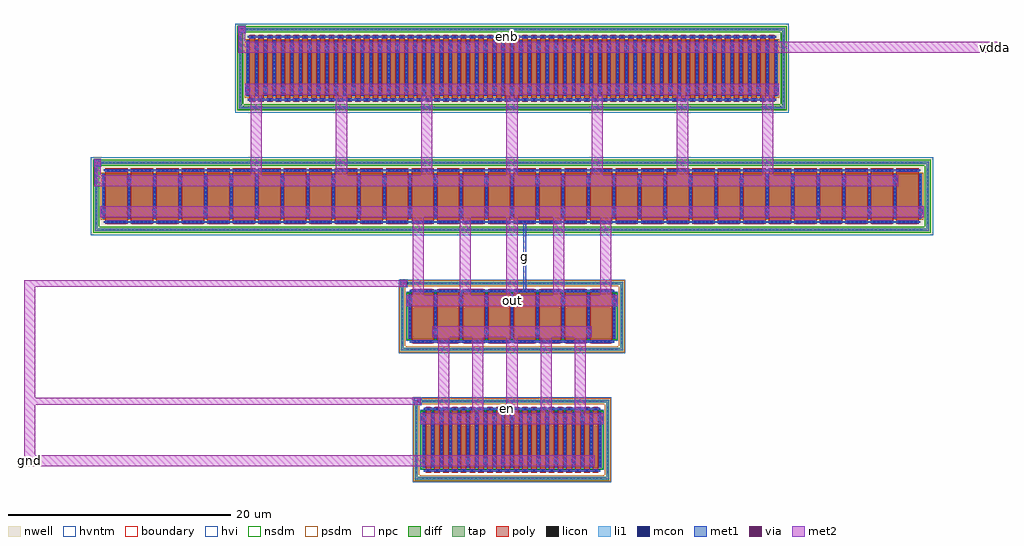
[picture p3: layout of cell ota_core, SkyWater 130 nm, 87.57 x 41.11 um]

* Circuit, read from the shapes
.subckt ota_core en enb g gnd out vdda
XM1 sky130_fd_pr__nfet_g5v0d10v5_XDK3YF_0/D0 g out gnd sky130_fd_pr__nfet_g5v0d10v5 w=4 l=2 m=8
XM2 gnd en sky130_fd_pr__nfet_g5v0d10v5_XDK3YF_0/D0 gnd sky130_fd_pr__nfet_g5v0d10v5 w=5 l=0.5 m=20
XM3 sky130_fd_pr__pfet_g5v0d10v5_8T3SAF_2/B g out sky130_fd_pr__pfet_g5v0d10v5_8T3SAF_2/B sky130_fd_pr__pfet_g5v0d10v5 w=4 l=2 m=32
XM4 vdda enb sky130_fd_pr__pfet_g5v0d10v5_8T3SAF_2/B vdda sky130_fd_pr__pfet_g5v0d10v5 w=5 l=0.5 m=60
.ends

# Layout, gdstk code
import gdstk
lib = gdstk.Library(unit=1e-6, precision=1e-09)
def R(c, l, rs):  # rectangles x0, y0, x1, y1
    for r in rs: c.add(gdstk.rectangle(r[:2], r[2:], *l))
def A(c, l, x, y, w, h, nx, ny, dx, dy):  # array of equal rectangles
    R(c, l, [(x+i*dx, y+j*dy, x+i*dx+w, y+j*dy+h) for i in range(nx) for j in range(ny)])
nwell = (64, 20)
diff = (65, 20)
tap = (65, 44)
poly = (66, 20)
licon = (66, 44)
li1 = (67, 20)
mcon = (67, 44)
met1 = (68, 20)
via = (68, 44)
met2 = (69, 20)
hvi = (75, 20)
nsdm = (93, 44)
psdm = (94, 20)
npc = (95, 20)
hvntm = (125, 20)
boundary = (235, 4)

sky130_fd_pr__nfet_g5v0d = lib.new_cell('sky130_fd_pr__nfet_g5v0d10v5_XDK3YF')
R(sky130_fd_pr__nfet_g5v0d, diff, [(-8.045,-2.5,8.045,2.5)])
R(sky130_fd_pr__nfet_g5v0d, tap, [(-8.725,-3.61,8.725,-3.32), (-8.725,-3.32,-8.435,3.32), (8.435,-3.32,8.725,3.32), (-8.725,3.32,8.725,3.61)])
A(sky130_fd_pr__nfet_g5v0d, poly, -7.755, -2.94, 0.5, 5.88, 20, 1, 0.79, 0)
A(sky130_fd_pr__nfet_g5v0d, licon, -8.075, -3.55, 0.17, 0.17, 48, 2, 0.34, 6.93)
A(sky130_fd_pr__nfet_g5v0d, licon, -8.665, -2.975, 0.17, 0.17, 1, 18, 0, 0.34)
A(sky130_fd_pr__nfet_g5v0d, licon, 8.495, -2.975, 0.17, 0.17, 1, 18, 0, 0.34)
A(sky130_fd_pr__nfet_g5v0d, licon, -7.59, -2.86, 0.17, 0.17, 20, 2, 0.79, 5.55)
A(sky130_fd_pr__nfet_g5v0d, licon, -7.985, -2.295, 0.17, 0.17, 21, 14, 0.79, 0.34)
A(sky130_fd_pr__nfet_g5v0d, li1, -7.985, -2.52, 0.17, 5.04, 21, 1, 0.79, 0)
R(sky130_fd_pr__nfet_g5v0d, li1, [(-8.665,-3.55,8.665,-3.38), (-8.665,-3.38,-8.495,3.38), (8.495,-3.38,8.665,3.38), (-7.9,-2.86,7.9,-2.69), (-7.9,2.69,7.9,2.86), (-8.665,3.38,8.665,3.55)])
A(sky130_fd_pr__nfet_g5v0d, mcon, -7.59, -2.86, 0.17, 0.17, 20, 2, 0.79, 5.55)
A(sky130_fd_pr__nfet_g5v0d, mcon, -7.985, -2.425, 0.17, 0.17, 21, 14, 0.79, 0.36)
A(sky130_fd_pr__nfet_g5v0d, met1, -7.735, -2.89, 0.46, 0.03, 20, 2, 0.79, 0.2)
A(sky130_fd_pr__nfet_g5v0d, met1, -8.015, -2.5, 0.23, 5, 21, 1, 0.79, 0)
A(sky130_fd_pr__nfet_g5v0d, met1, -7.735, 2.66, 0.46, 0.03, 20, 2, 0.79, 0.2)
R(sky130_fd_pr__nfet_g5v0d, met1, [(-7.9,-2.86,7.9,-2.69), (-7.9,2.69,7.9,2.86)])
R(sky130_fd_pr__nfet_g5v0d, hvi, [(-8.91,-3.795,8.91,3.795)])
R(sky130_fd_pr__nfet_g5v0d, nsdm, [(-8.17,-2.625,8.17,2.625)])
R(sky130_fd_pr__nfet_g5v0d, psdm, [(-8.85,-3.735,8.85,-3.195), (-8.85,-3.195,-8.31,3.195), (8.31,-3.195,8.85,3.195), (-8.85,3.195,8.85,3.735)])
A(sky130_fd_pr__nfet_g5v0d, npc, -7.69, -2.96, 0.37, 0.37, 20, 2, 0.79, 5.55)
R(sky130_fd_pr__nfet_g5v0d, hvntm, [(-8.23,-2.685,8.23,2.685)])
R(sky130_fd_pr__nfet_g5v0d, boundary, [(-8.58,-3.465,8.58,3.465)])
sky130_fd_pr__nfet_g5v0d.add(gdstk.Label('B', (0,-3.465), layer=67, texttype=5))
sky130_fd_pr__nfet_g5v0d.add(gdstk.Label('D0', (-7.9,0), layer=67, texttype=5))
sky130_fd_pr__nfet_g5v0d.add(gdstk.Label('G', (7.505,2.775), layer=67, texttype=5))
sky130_fd_pr__nfet_g5v0d.add(gdstk.Label('G', (6.715,2.775), layer=67, texttype=5))
sky130_fd_pr__nfet_g5v0d.add(gdstk.Label('G', (5.925,2.775), layer=67, texttype=5))
sky130_fd_pr__nfet_g5v0d.add(gdstk.Label('G', (5.135,2.775), layer=67, texttype=5))
sky130_fd_pr__nfet_g5v0d.add(gdstk.Label('G', (4.345,2.775), layer=67, texttype=5))
sky130_fd_pr__nfet_g5v0d.add(gdstk.Label('G', (3.555,2.775), layer=67, texttype=5))
sky130_fd_pr__nfet_g5v0d.add(gdstk.Label('G', (2.765,2.775), layer=67, texttype=5))
sky130_fd_pr__nfet_g5v0d.add(gdstk.Label('G', (1.975,2.775), layer=67, texttype=5))
sky130_fd_pr__nfet_g5v0d.add(gdstk.Label('G', (1.185,2.775), layer=67, texttype=5))
sky130_fd_pr__nfet_g5v0d.add(gdstk.Label('G', (0.395,2.775), layer=67, texttype=5))
sky130_fd_pr__nfet_g5v0d.add(gdstk.Label('G', (-0.395,2.775), layer=67, texttype=5))
sky130_fd_pr__nfet_g5v0d.add(gdstk.Label('G', (-1.185,2.775), layer=67, texttype=5))
sky130_fd_pr__nfet_g5v0d.add(gdstk.Label('G', (-1.975,2.775), layer=67, texttype=5))
sky130_fd_pr__nfet_g5v0d.add(gdstk.Label('G', (-2.765,2.775), layer=67, texttype=5))
sky130_fd_pr__nfet_g5v0d.add(gdstk.Label('G', (-3.555,2.775), layer=67, texttype=5))
sky130_fd_pr__nfet_g5v0d.add(gdstk.Label('G', (-4.345,2.775), layer=67, texttype=5))
sky130_fd_pr__nfet_g5v0d.add(gdstk.Label('G', (-5.135,2.775), layer=67, texttype=5))
sky130_fd_pr__nfet_g5v0d.add(gdstk.Label('G', (-5.925,2.775), layer=67, texttype=5))
sky130_fd_pr__nfet_g5v0d.add(gdstk.Label('G', (-6.715,2.775), layer=67, texttype=5))
sky130_fd_pr__nfet_g5v0d.add(gdstk.Label('G', (-7.505,2.775), layer=67, texttype=5))
sky130_fd_pr__nfet_g5v0d.add(gdstk.Label('S1', (-7.11,0), layer=67, texttype=5))
sky130_fd_pr__nfet_g5v0d.add(gdstk.Label('D2', (-6.32,0), layer=67, texttype=5))
sky130_fd_pr__nfet_g5v0d.add(gdstk.Label('S3', (-5.53,0), layer=67, texttype=5))
sky130_fd_pr__nfet_g5v0d.add(gdstk.Label('D4', (-4.74,0), layer=67, texttype=5))
sky130_fd_pr__nfet_g5v0d.add(gdstk.Label('S5', (-3.95,0), layer=67, texttype=5))
sky130_fd_pr__nfet_g5v0d.add(gdstk.Label('D6', (-3.16,0), layer=67, texttype=5))
sky130_fd_pr__nfet_g5v0d.add(gdstk.Label('S7', (-2.37,0), layer=67, texttype=5))
sky130_fd_pr__nfet_g5v0d.add(gdstk.Label('D8', (-1.58,0), layer=67, texttype=5))
sky130_fd_pr__nfet_g5v0d.add(gdstk.Label('S9', (-0.79,0), layer=67, texttype=5))
sky130_fd_pr__nfet_g5v0d.add(gdstk.Label('D10', (0,0), layer=67, texttype=5))
sky130_fd_pr__nfet_g5v0d.add(gdstk.Label('S11', (0.79,0), layer=67, texttype=5))
sky130_fd_pr__nfet_g5v0d.add(gdstk.Label('D12', (1.58,0), layer=67, texttype=5))
sky130_fd_pr__nfet_g5v0d.add(gdstk.Label('S13', (2.37,0), layer=67, texttype=5))
sky130_fd_pr__nfet_g5v0d.add(gdstk.Label('D14', (3.16,0), layer=67, texttype=5))
sky130_fd_pr__nfet_g5v0d.add(gdstk.Label('S15', (3.95,0), layer=67, texttype=5))
sky130_fd_pr__nfet_g5v0d.add(gdstk.Label('D16', (4.74,0), layer=67, texttype=5))
sky130_fd_pr__nfet_g5v0d.add(gdstk.Label('S17', (5.53,0), layer=67, texttype=5))
sky130_fd_pr__nfet_g5v0d.add(gdstk.Label('D18', (6.32,0), layer=67, texttype=5))
sky130_fd_pr__nfet_g5v0d.add(gdstk.Label('S19', (7.11,0), layer=67, texttype=5))

c_sky130_fd_pr__nfet_g5v0d = lib.new_cell('sky130_fd_pr__nfet_g5v0d10v5_5P4MW7')
R(c_sky130_fd_pr__nfet_g5v0d, diff, [(-9.305,-2,9.305,2)])
R(c_sky130_fd_pr__nfet_g5v0d, tap, [(-9.985,-3.11,9.985,-2.82), (-9.985,-2.82,-9.695,2.82), (9.695,-2.82,9.985,2.82), (-9.985,2.82,9.985,3.11)])
A(c_sky130_fd_pr__nfet_g5v0d, poly, -9.015, -2.44, 2, 4.88, 8, 1, 2.29, 0)
A(c_sky130_fd_pr__nfet_g5v0d, licon, -9.435, -3.05, 0.17, 0.17, 56, 2, 0.34, 5.93)
A(c_sky130_fd_pr__nfet_g5v0d, licon, -9.925, -2.465, 0.17, 0.17, 1, 15, 0, 0.34)
A(c_sky130_fd_pr__nfet_g5v0d, licon, 9.755, -2.465, 0.17, 0.17, 1, 15, 0, 0.34)
A(c_sky130_fd_pr__nfet_g5v0d, licon, -8.78, -2.36, 0.17, 0.17, 5, 2, 0.34, 4.55)
A(c_sky130_fd_pr__nfet_g5v0d, licon, -6.49, -2.36, 0.17, 0.17, 5, 2, 0.34, 4.55)
A(c_sky130_fd_pr__nfet_g5v0d, licon, -4.2, -2.36, 0.17, 0.17, 5, 2, 0.34, 4.55)
A(c_sky130_fd_pr__nfet_g5v0d, licon, -1.91, -2.36, 0.17, 0.17, 5, 2, 0.34, 4.55)
A(c_sky130_fd_pr__nfet_g5v0d, licon, 0.38, -2.36, 0.17, 0.17, 5, 2, 0.34, 4.55)
A(c_sky130_fd_pr__nfet_g5v0d, licon, 2.67, -2.36, 0.17, 0.17, 5, 2, 0.34, 4.55)
A(c_sky130_fd_pr__nfet_g5v0d, licon, 4.96, -2.36, 0.17, 0.17, 5, 2, 0.34, 4.55)
A(c_sky130_fd_pr__nfet_g5v0d, licon, 7.25, -2.36, 0.17, 0.17, 5, 2, 0.34, 4.55)
A(c_sky130_fd_pr__nfet_g5v0d, licon, -9.245, -1.785, 0.17, 0.17, 9, 11, 2.29, 0.34)
A(c_sky130_fd_pr__nfet_g5v0d, li1, -9.245, -2.02, 0.17, 4.04, 9, 1, 2.29, 0)
R(c_sky130_fd_pr__nfet_g5v0d, li1, [(-9.925,-3.05,9.925,-2.88), (-9.925,-2.88,-9.755,2.88), (9.755,-2.88,9.925,2.88), (-9.16,-2.36,9.16,-2.19), (-9.16,2.19,9.16,2.36), (-9.925,2.88,9.925,3.05)])
A(c_sky130_fd_pr__nfet_g5v0d, mcon, -8.82, -2.36, 0.17, 0.17, 5, 2, 0.36, 4.55)
A(c_sky130_fd_pr__nfet_g5v0d, mcon, -6.53, -2.36, 0.17, 0.17, 5, 2, 0.36, 4.55)
A(c_sky130_fd_pr__nfet_g5v0d, mcon, -4.24, -2.36, 0.17, 0.17, 5, 2, 0.36, 4.55)
A(c_sky130_fd_pr__nfet_g5v0d, mcon, -1.95, -2.36, 0.17, 0.17, 5, 2, 0.36, 4.55)
A(c_sky130_fd_pr__nfet_g5v0d, mcon, 0.34, -2.36, 0.17, 0.17, 5, 2, 0.36, 4.55)
A(c_sky130_fd_pr__nfet_g5v0d, mcon, 2.63, -2.36, 0.17, 0.17, 5, 2, 0.36, 4.55)
A(c_sky130_fd_pr__nfet_g5v0d, mcon, 4.92, -2.36, 0.17, 0.17, 5, 2, 0.36, 4.55)
A(c_sky130_fd_pr__nfet_g5v0d, mcon, 7.21, -2.36, 0.17, 0.17, 5, 2, 0.36, 4.55)
A(c_sky130_fd_pr__nfet_g5v0d, mcon, -9.245, -1.885, 0.17, 0.17, 9, 11, 2.29, 0.36)
A(c_sky130_fd_pr__nfet_g5v0d, met1, -8.995, -2.39, 1.96, 0.03, 8, 2, 2.29, 0.2)
A(c_sky130_fd_pr__nfet_g5v0d, met1, -9.275, -2, 0.23, 4, 9, 1, 2.29, 0)
A(c_sky130_fd_pr__nfet_g5v0d, met1, -8.995, 2.16, 1.96, 0.03, 8, 2, 2.29, 0.2)
R(c_sky130_fd_pr__nfet_g5v0d, met1, [(-9.16,-2.36,9.16,-2.19), (-9.16,2.19,9.16,2.36)])
R(c_sky130_fd_pr__nfet_g5v0d, hvi, [(-10.17,-3.295,10.17,3.295)])
R(c_sky130_fd_pr__nfet_g5v0d, nsdm, [(-9.43,-2.125,9.43,2.125)])
R(c_sky130_fd_pr__nfet_g5v0d, psdm, [(-10.11,-3.235,10.11,-2.695), (-10.11,-2.695,-9.57,2.695), (9.57,-2.695,10.11,2.695), (-10.11,2.695,10.11,3.235)])
A(c_sky130_fd_pr__nfet_g5v0d, npc, -8.88, -2.46, 1.73, 0.37, 8, 2, 2.29, 4.55)
R(c_sky130_fd_pr__nfet_g5v0d, hvntm, [(-9.49,-2.185,9.49,2.185)])
R(c_sky130_fd_pr__nfet_g5v0d, boundary, [(-9.84,-2.965,9.84,2.965)])
c_sky130_fd_pr__nfet_g5v0d.add(gdstk.Label('B', (0,-2.965), layer=67, texttype=5))
c_sky130_fd_pr__nfet_g5v0d.add(gdstk.Label('D0', (-9.16,0), layer=67, texttype=5))
c_sky130_fd_pr__nfet_g5v0d.add(gdstk.Label('G', (8.015,2.275), layer=67, texttype=5))
c_sky130_fd_pr__nfet_g5v0d.add(gdstk.Label('G', (5.725,2.275), layer=67, texttype=5))
c_sky130_fd_pr__nfet_g5v0d.add(gdstk.Label('G', (3.435,2.275), layer=67, texttype=5))
c_sky130_fd_pr__nfet_g5v0d.add(gdstk.Label('G', (1.145,2.275), layer=67, texttype=5))
c_sky130_fd_pr__nfet_g5v0d.add(gdstk.Label('G', (-1.145,2.275), layer=67, texttype=5))
c_sky130_fd_pr__nfet_g5v0d.add(gdstk.Label('G', (-3.435,2.275), layer=67, texttype=5))
c_sky130_fd_pr__nfet_g5v0d.add(gdstk.Label('G', (-5.725,2.275), layer=67, texttype=5))
c_sky130_fd_pr__nfet_g5v0d.add(gdstk.Label('G', (-8.015,2.275), layer=67, texttype=5))
c_sky130_fd_pr__nfet_g5v0d.add(gdstk.Label('S1', (-6.87,0), layer=67, texttype=5))
c_sky130_fd_pr__nfet_g5v0d.add(gdstk.Label('D2', (-4.58,0), layer=67, texttype=5))
c_sky130_fd_pr__nfet_g5v0d.add(gdstk.Label('S3', (-2.29,0), layer=67, texttype=5))
c_sky130_fd_pr__nfet_g5v0d.add(gdstk.Label('D4', (0,0), layer=67, texttype=5))
c_sky130_fd_pr__nfet_g5v0d.add(gdstk.Label('S5', (2.29,0), layer=67, texttype=5))
c_sky130_fd_pr__nfet_g5v0d.add(gdstk.Label('D6', (4.58,0), layer=67, texttype=5))
c_sky130_fd_pr__nfet_g5v0d.add(gdstk.Label('S7', (6.87,0), layer=67, texttype=5))

sky130_fd_pr__pfet_g5v0d = lib.new_cell('sky130_fd_pr__pfet_g5v0d10v5_8T3SAF')
R(sky130_fd_pr__pfet_g5v0d, nwell, [(-37.785,-3.485,37.785,3.485)])
R(sky130_fd_pr__pfet_g5v0d, diff, [(-36.785,-2,36.785,2)])
R(sky130_fd_pr__pfet_g5v0d, tap, [(-37.455,-3.155,37.455,-2.865), (-37.455,-2.865,-37.165,2.865), (37.165,-2.865,37.455,2.865), (-37.455,2.865,37.455,3.155)])
A(sky130_fd_pr__pfet_g5v0d, poly, -36.495, -2.485, 2, 4.97, 32, 1, 2.29, 0)
A(sky130_fd_pr__pfet_g5v0d, licon, -36.805, -3.095, 0.17, 0.17, 217, 2, 0.34, 6.02)
A(sky130_fd_pr__pfet_g5v0d, licon, -37.395, -2.465, 0.17, 0.17, 1, 15, 0, 0.34)
A(sky130_fd_pr__pfet_g5v0d, licon, 37.225, -2.465, 0.17, 0.17, 1, 15, 0, 0.34)
A(sky130_fd_pr__pfet_g5v0d, licon, -36.26, -2.405, 0.17, 0.17, 5, 2, 0.34, 4.64)
A(sky130_fd_pr__pfet_g5v0d, licon, -33.97, -2.405, 0.17, 0.17, 5, 2, 0.34, 4.64)
A(sky130_fd_pr__pfet_g5v0d, licon, -31.68, -2.405, 0.17, 0.17, 5, 2, 0.34, 4.64)
A(sky130_fd_pr__pfet_g5v0d, licon, -29.39, -2.405, 0.17, 0.17, 5, 2, 0.34, 4.64)
A(sky130_fd_pr__pfet_g5v0d, licon, -27.1, -2.405, 0.17, 0.17, 5, 2, 0.34, 4.64)
A(sky130_fd_pr__pfet_g5v0d, licon, -24.81, -2.405, 0.17, 0.17, 5, 2, 0.34, 4.64)
A(sky130_fd_pr__pfet_g5v0d, licon, -22.52, -2.405, 0.17, 0.17, 5, 2, 0.34, 4.64)
A(sky130_fd_pr__pfet_g5v0d, licon, -20.23, -2.405, 0.17, 0.17, 5, 2, 0.34, 4.64)
A(sky130_fd_pr__pfet_g5v0d, licon, -17.94, -2.405, 0.17, 0.17, 5, 2, 0.34, 4.64)
A(sky130_fd_pr__pfet_g5v0d, licon, -15.65, -2.405, 0.17, 0.17, 5, 2, 0.34, 4.64)
A(sky130_fd_pr__pfet_g5v0d, licon, -13.36, -2.405, 0.17, 0.17, 5, 2, 0.34, 4.64)
A(sky130_fd_pr__pfet_g5v0d, licon, -11.07, -2.405, 0.17, 0.17, 5, 2, 0.34, 4.64)
A(sky130_fd_pr__pfet_g5v0d, licon, -8.78, -2.405, 0.17, 0.17, 5, 2, 0.34, 4.64)
A(sky130_fd_pr__pfet_g5v0d, licon, -6.49, -2.405, 0.17, 0.17, 5, 2, 0.34, 4.64)
A(sky130_fd_pr__pfet_g5v0d, licon, -4.2, -2.405, 0.17, 0.17, 5, 2, 0.34, 4.64)
A(sky130_fd_pr__pfet_g5v0d, licon, -1.91, -2.405, 0.17, 0.17, 5, 2, 0.34, 4.64)
A(sky130_fd_pr__pfet_g5v0d, licon, 0.38, -2.405, 0.17, 0.17, 5, 2, 0.34, 4.64)
A(sky130_fd_pr__pfet_g5v0d, licon, 2.67, -2.405, 0.17, 0.17, 5, 2, 0.34, 4.64)
A(sky130_fd_pr__pfet_g5v0d, licon, 4.96, -2.405, 0.17, 0.17, 5, 2, 0.34, 4.64)
A(sky130_fd_pr__pfet_g5v0d, licon, 7.25, -2.405, 0.17, 0.17, 5, 2, 0.34, 4.64)
A(sky130_fd_pr__pfet_g5v0d, licon, 9.54, -2.405, 0.17, 0.17, 5, 2, 0.34, 4.64)
A(sky130_fd_pr__pfet_g5v0d, licon, 11.83, -2.405, 0.17, 0.17, 5, 2, 0.34, 4.64)
A(sky130_fd_pr__pfet_g5v0d, licon, 14.12, -2.405, 0.17, 0.17, 5, 2, 0.34, 4.64)
A(sky130_fd_pr__pfet_g5v0d, licon, 16.41, -2.405, 0.17, 0.17, 5, 2, 0.34, 4.64)
A(sky130_fd_pr__pfet_g5v0d, licon, 18.7, -2.405, 0.17, 0.17, 5, 2, 0.34, 4.64)
A(sky130_fd_pr__pfet_g5v0d, licon, 20.99, -2.405, 0.17, 0.17, 5, 2, 0.34, 4.64)
A(sky130_fd_pr__pfet_g5v0d, licon, 23.28, -2.405, 0.17, 0.17, 5, 2, 0.34, 4.64)
A(sky130_fd_pr__pfet_g5v0d, licon, 25.57, -2.405, 0.17, 0.17, 5, 2, 0.34, 4.64)
A(sky130_fd_pr__pfet_g5v0d, licon, 27.86, -2.405, 0.17, 0.17, 5, 2, 0.34, 4.64)
A(sky130_fd_pr__pfet_g5v0d, licon, 30.15, -2.405, 0.17, 0.17, 5, 2, 0.34, 4.64)
A(sky130_fd_pr__pfet_g5v0d, licon, 32.44, -2.405, 0.17, 0.17, 5, 2, 0.34, 4.64)
A(sky130_fd_pr__pfet_g5v0d, licon, 34.73, -2.405, 0.17, 0.17, 5, 2, 0.34, 4.64)
A(sky130_fd_pr__pfet_g5v0d, licon, -36.725, -1.785, 0.17, 0.17, 33, 11, 2.29, 0.34)
A(sky130_fd_pr__pfet_g5v0d, li1, -36.725, -2.02, 0.17, 4.04, 33, 1, 2.29, 0)
R(sky130_fd_pr__pfet_g5v0d, li1, [(-37.395,-3.095,37.395,-2.925), (-37.395,-2.925,-37.225,2.925), (37.225,-2.925,37.395,2.925), (-36.64,-2.405,36.64,-2.235), (-36.64,2.235,36.64,2.405), (-37.395,2.925,37.395,3.095)])
A(sky130_fd_pr__pfet_g5v0d, mcon, -36.3, -2.405, 0.17, 0.17, 5, 2, 0.36, 4.64)
A(sky130_fd_pr__pfet_g5v0d, mcon, -34.01, -2.405, 0.17, 0.17, 5, 2, 0.36, 4.64)
A(sky130_fd_pr__pfet_g5v0d, mcon, -31.72, -2.405, 0.17, 0.17, 5, 2, 0.36, 4.64)
A(sky130_fd_pr__pfet_g5v0d, mcon, -29.43, -2.405, 0.17, 0.17, 5, 2, 0.36, 4.64)
A(sky130_fd_pr__pfet_g5v0d, mcon, -27.14, -2.405, 0.17, 0.17, 5, 2, 0.36, 4.64)
A(sky130_fd_pr__pfet_g5v0d, mcon, -24.85, -2.405, 0.17, 0.17, 5, 2, 0.36, 4.64)
A(sky130_fd_pr__pfet_g5v0d, mcon, -22.56, -2.405, 0.17, 0.17, 5, 2, 0.36, 4.64)
A(sky130_fd_pr__pfet_g5v0d, mcon, -20.27, -2.405, 0.17, 0.17, 5, 2, 0.36, 4.64)
A(sky130_fd_pr__pfet_g5v0d, mcon, -17.98, -2.405, 0.17, 0.17, 5, 2, 0.36, 4.64)
A(sky130_fd_pr__pfet_g5v0d, mcon, -15.69, -2.405, 0.17, 0.17, 5, 2, 0.36, 4.64)
A(sky130_fd_pr__pfet_g5v0d, mcon, -13.4, -2.405, 0.17, 0.17, 5, 2, 0.36, 4.64)
A(sky130_fd_pr__pfet_g5v0d, mcon, -11.11, -2.405, 0.17, 0.17, 5, 2, 0.36, 4.64)
A(sky130_fd_pr__pfet_g5v0d, mcon, -8.82, -2.405, 0.17, 0.17, 5, 2, 0.36, 4.64)
A(sky130_fd_pr__pfet_g5v0d, mcon, -6.53, -2.405, 0.17, 0.17, 5, 2, 0.36, 4.64)
A(sky130_fd_pr__pfet_g5v0d, mcon, -4.24, -2.405, 0.17, 0.17, 5, 2, 0.36, 4.64)
A(sky130_fd_pr__pfet_g5v0d, mcon, -1.95, -2.405, 0.17, 0.17, 5, 2, 0.36, 4.64)
A(sky130_fd_pr__pfet_g5v0d, mcon, 0.34, -2.405, 0.17, 0.17, 5, 2, 0.36, 4.64)
A(sky130_fd_pr__pfet_g5v0d, mcon, 2.63, -2.405, 0.17, 0.17, 5, 2, 0.36, 4.64)
A(sky130_fd_pr__pfet_g5v0d, mcon, 4.92, -2.405, 0.17, 0.17, 5, 2, 0.36, 4.64)
A(sky130_fd_pr__pfet_g5v0d, mcon, 7.21, -2.405, 0.17, 0.17, 5, 2, 0.36, 4.64)
A(sky130_fd_pr__pfet_g5v0d, mcon, 9.5, -2.405, 0.17, 0.17, 5, 2, 0.36, 4.64)
A(sky130_fd_pr__pfet_g5v0d, mcon, 11.79, -2.405, 0.17, 0.17, 5, 2, 0.36, 4.64)
A(sky130_fd_pr__pfet_g5v0d, mcon, 14.08, -2.405, 0.17, 0.17, 5, 2, 0.36, 4.64)
A(sky130_fd_pr__pfet_g5v0d, mcon, 16.37, -2.405, 0.17, 0.17, 5, 2, 0.36, 4.64)
A(sky130_fd_pr__pfet_g5v0d, mcon, 18.66, -2.405, 0.17, 0.17, 5, 2, 0.36, 4.64)
A(sky130_fd_pr__pfet_g5v0d, mcon, 20.95, -2.405, 0.17, 0.17, 5, 2, 0.36, 4.64)
A(sky130_fd_pr__pfet_g5v0d, mcon, 23.24, -2.405, 0.17, 0.17, 5, 2, 0.36, 4.64)
A(sky130_fd_pr__pfet_g5v0d, mcon, 25.53, -2.405, 0.17, 0.17, 5, 2, 0.36, 4.64)
A(sky130_fd_pr__pfet_g5v0d, mcon, 27.82, -2.405, 0.17, 0.17, 5, 2, 0.36, 4.64)
A(sky130_fd_pr__pfet_g5v0d, mcon, 30.11, -2.405, 0.17, 0.17, 5, 2, 0.36, 4.64)
A(sky130_fd_pr__pfet_g5v0d, mcon, 32.4, -2.405, 0.17, 0.17, 5, 2, 0.36, 4.64)
A(sky130_fd_pr__pfet_g5v0d, mcon, 34.69, -2.405, 0.17, 0.17, 5, 2, 0.36, 4.64)
A(sky130_fd_pr__pfet_g5v0d, mcon, -36.725, -1.885, 0.17, 0.17, 33, 11, 2.29, 0.36)
A(sky130_fd_pr__pfet_g5v0d, met1, -36.475, -2.435, 1.96, 0.03, 32, 2, 2.29, 0.2)
A(sky130_fd_pr__pfet_g5v0d, met1, -36.755, -2, 0.23, 4, 33, 1, 2.29, 0)
A(sky130_fd_pr__pfet_g5v0d, met1, -36.475, 2.205, 1.96, 0.03, 32, 2, 2.29, 0.2)
R(sky130_fd_pr__pfet_g5v0d, met1, [(-36.64,-2.405,36.64,-2.235), (-36.64,2.235,36.64,2.405)])
R(sky130_fd_pr__pfet_g5v0d, hvi, [(-37.785,-3.485,37.785,3.485)])
R(sky130_fd_pr__pfet_g5v0d, nsdm, [(-37.58,-3.28,37.58,-2.74), (-37.58,-2.74,-37.04,2.74), (37.04,-2.74,37.58,2.74), (-37.58,2.74,37.58,3.28)])
R(sky130_fd_pr__pfet_g5v0d, psdm, [(-36.91,-2.125,36.91,2.125)])
A(sky130_fd_pr__pfet_g5v0d, npc, -36.36, -2.505, 1.73, 0.37, 32, 2, 2.29, 4.64)
R(sky130_fd_pr__pfet_g5v0d, boundary, [(-37.31,-3.01,37.31,3.01)])
sky130_fd_pr__pfet_g5v0d.add(gdstk.Label('B', (0,-3.01), layer=67, texttype=5))
sky130_fd_pr__pfet_g5v0d.add(gdstk.Label('D0', (-36.64,0), layer=67, texttype=5))
sky130_fd_pr__pfet_g5v0d.add(gdstk.Label('G', (35.495,2.32), layer=67, texttype=5))
sky130_fd_pr__pfet_g5v0d.add(gdstk.Label('G', (33.205,2.32), layer=67, texttype=5))
sky130_fd_pr__pfet_g5v0d.add(gdstk.Label('G', (30.915,2.32), layer=67, texttype=5))
sky130_fd_pr__pfet_g5v0d.add(gdstk.Label('G', (28.625,2.32), layer=67, texttype=5))
sky130_fd_pr__pfet_g5v0d.add(gdstk.Label('G', (26.335,2.32), layer=67, texttype=5))
sky130_fd_pr__pfet_g5v0d.add(gdstk.Label('G', (24.045,2.32), layer=67, texttype=5))
sky130_fd_pr__pfet_g5v0d.add(gdstk.Label('G', (21.755,2.32), layer=67, texttype=5))
sky130_fd_pr__pfet_g5v0d.add(gdstk.Label('G', (19.465,2.32), layer=67, texttype=5))
sky130_fd_pr__pfet_g5v0d.add(gdstk.Label('G', (17.175,2.32), layer=67, texttype=5))
sky130_fd_pr__pfet_g5v0d.add(gdstk.Label('G', (14.885,2.32), layer=67, texttype=5))
sky130_fd_pr__pfet_g5v0d.add(gdstk.Label('G', (12.595,2.32), layer=67, texttype=5))
sky130_fd_pr__pfet_g5v0d.add(gdstk.Label('G', (10.305,2.32), layer=67, texttype=5))
sky130_fd_pr__pfet_g5v0d.add(gdstk.Label('G', (8.015,2.32), layer=67, texttype=5))
sky130_fd_pr__pfet_g5v0d.add(gdstk.Label('G', (5.725,2.32), layer=67, texttype=5))
sky130_fd_pr__pfet_g5v0d.add(gdstk.Label('G', (3.435,2.32), layer=67, texttype=5))
sky130_fd_pr__pfet_g5v0d.add(gdstk.Label('G', (1.145,2.32), layer=67, texttype=5))
sky130_fd_pr__pfet_g5v0d.add(gdstk.Label('G', (-1.145,2.32), layer=67, texttype=5))
sky130_fd_pr__pfet_g5v0d.add(gdstk.Label('G', (-3.435,2.32), layer=67, texttype=5))
sky130_fd_pr__pfet_g5v0d.add(gdstk.Label('G', (-5.725,2.32), layer=67, texttype=5))
sky130_fd_pr__pfet_g5v0d.add(gdstk.Label('G', (-8.015,2.32), layer=67, texttype=5))
sky130_fd_pr__pfet_g5v0d.add(gdstk.Label('G', (-10.305,2.32), layer=67, texttype=5))
sky130_fd_pr__pfet_g5v0d.add(gdstk.Label('G', (-12.595,2.32), layer=67, texttype=5))
sky130_fd_pr__pfet_g5v0d.add(gdstk.Label('G', (-14.885,2.32), layer=67, texttype=5))
sky130_fd_pr__pfet_g5v0d.add(gdstk.Label('G', (-17.175,2.32), layer=67, texttype=5))
sky130_fd_pr__pfet_g5v0d.add(gdstk.Label('G', (-19.465,2.32), layer=67, texttype=5))
sky130_fd_pr__pfet_g5v0d.add(gdstk.Label('G', (-21.755,2.32), layer=67, texttype=5))
sky130_fd_pr__pfet_g5v0d.add(gdstk.Label('G', (-24.045,2.32), layer=67, texttype=5))
sky130_fd_pr__pfet_g5v0d.add(gdstk.Label('G', (-26.335,2.32), layer=67, texttype=5))
sky130_fd_pr__pfet_g5v0d.add(gdstk.Label('G', (-28.625,2.32), layer=67, texttype=5))
sky130_fd_pr__pfet_g5v0d.add(gdstk.Label('G', (-30.915,2.32), layer=67, texttype=5))
sky130_fd_pr__pfet_g5v0d.add(gdstk.Label('G', (-33.205,2.32), layer=67, texttype=5))
sky130_fd_pr__pfet_g5v0d.add(gdstk.Label('G', (-35.495,2.32), layer=67, texttype=5))
sky130_fd_pr__pfet_g5v0d.add(gdstk.Label('S1', (-34.35,0), layer=67, texttype=5))
sky130_fd_pr__pfet_g5v0d.add(gdstk.Label('D2', (-32.06,0), layer=67, texttype=5))
sky130_fd_pr__pfet_g5v0d.add(gdstk.Label('S3', (-29.77,0), layer=67, texttype=5))
sky130_fd_pr__pfet_g5v0d.add(gdstk.Label('D4', (-27.48,0), layer=67, texttype=5))
sky130_fd_pr__pfet_g5v0d.add(gdstk.Label('S5', (-25.19,0), layer=67, texttype=5))
sky130_fd_pr__pfet_g5v0d.add(gdstk.Label('D6', (-22.9,0), layer=67, texttype=5))
sky130_fd_pr__pfet_g5v0d.add(gdstk.Label('S7', (-20.61,0), layer=67, texttype=5))
sky130_fd_pr__pfet_g5v0d.add(gdstk.Label('D8', (-18.32,0), layer=67, texttype=5))
sky130_fd_pr__pfet_g5v0d.add(gdstk.Label('S9', (-16.03,0), layer=67, texttype=5))
sky130_fd_pr__pfet_g5v0d.add(gdstk.Label('D10', (-13.74,0), layer=67, texttype=5))
sky130_fd_pr__pfet_g5v0d.add(gdstk.Label('S11', (-11.45,0), layer=67, texttype=5))
sky130_fd_pr__pfet_g5v0d.add(gdstk.Label('D12', (-9.16,0), layer=67, texttype=5))
sky130_fd_pr__pfet_g5v0d.add(gdstk.Label('S13', (-6.87,0), layer=67, texttype=5))
sky130_fd_pr__pfet_g5v0d.add(gdstk.Label('D14', (-4.58,0), layer=67, texttype=5))
sky130_fd_pr__pfet_g5v0d.add(gdstk.Label('S15', (-2.29,0), layer=67, texttype=5))
sky130_fd_pr__pfet_g5v0d.add(gdstk.Label('D16', (0,0), layer=67, texttype=5))
sky130_fd_pr__pfet_g5v0d.add(gdstk.Label('S17', (2.29,0), layer=67, texttype=5))
sky130_fd_pr__pfet_g5v0d.add(gdstk.Label('D18', (4.58,0), layer=67, texttype=5))
sky130_fd_pr__pfet_g5v0d.add(gdstk.Label('S19', (6.87,0), layer=67, texttype=5))
sky130_fd_pr__pfet_g5v0d.add(gdstk.Label('D20', (9.16,0), layer=67, texttype=5))
sky130_fd_pr__pfet_g5v0d.add(gdstk.Label('S21', (11.45,0), layer=67, texttype=5))
sky130_fd_pr__pfet_g5v0d.add(gdstk.Label('D22', (13.74,0), layer=67, texttype=5))
sky130_fd_pr__pfet_g5v0d.add(gdstk.Label('S23', (16.03,0), layer=67, texttype=5))
sky130_fd_pr__pfet_g5v0d.add(gdstk.Label('D24', (18.32,0), layer=67, texttype=5))
sky130_fd_pr__pfet_g5v0d.add(gdstk.Label('S25', (20.61,0), layer=67, texttype=5))
sky130_fd_pr__pfet_g5v0d.add(gdstk.Label('D26', (22.9,0), layer=67, texttype=5))
sky130_fd_pr__pfet_g5v0d.add(gdstk.Label('S27', (25.19,0), layer=67, texttype=5))
sky130_fd_pr__pfet_g5v0d.add(gdstk.Label('D28', (27.48,0), layer=67, texttype=5))
sky130_fd_pr__pfet_g5v0d.add(gdstk.Label('S29', (29.77,0), layer=67, texttype=5))
sky130_fd_pr__pfet_g5v0d.add(gdstk.Label('D30', (32.06,0), layer=67, texttype=5))
sky130_fd_pr__pfet_g5v0d.add(gdstk.Label('S31', (34.35,0), layer=67, texttype=5))

c_sky130_fd_pr__pfet_g5v0d = lib.new_cell('sky130_fd_pr__pfet_g5v0d10v5_7N2TME')
R(c_sky130_fd_pr__pfet_g5v0d, nwell, [(-24.845,-3.985,24.845,3.985)])
R(c_sky130_fd_pr__pfet_g5v0d, diff, [(-23.845,-2.5,23.845,2.5)])
R(c_sky130_fd_pr__pfet_g5v0d, tap, [(-24.515,-3.655,24.515,-3.365), (-24.515,-3.365,-24.225,3.365), (24.225,-3.365,24.515,3.365), (-24.515,3.365,24.515,3.655)])
A(c_sky130_fd_pr__pfet_g5v0d, poly, -23.555, -2.985, 0.5, 5.97, 60, 1, 0.79, 0)
A(c_sky130_fd_pr__pfet_g5v0d, licon, -23.885, -3.595, 0.17, 0.17, 141, 2, 0.34, 7.02)
A(c_sky130_fd_pr__pfet_g5v0d, licon, -24.455, -2.975, 0.17, 0.17, 1, 18, 0, 0.34)
A(c_sky130_fd_pr__pfet_g5v0d, licon, 24.285, -2.975, 0.17, 0.17, 1, 18, 0, 0.34)
A(c_sky130_fd_pr__pfet_g5v0d, licon, -23.39, -2.905, 0.17, 0.17, 60, 2, 0.79, 5.64)
A(c_sky130_fd_pr__pfet_g5v0d, licon, -23.785, -2.295, 0.17, 0.17, 61, 14, 0.79, 0.34)
A(c_sky130_fd_pr__pfet_g5v0d, li1, -23.785, -2.52, 0.17, 5.04, 61, 1, 0.79, 0)
R(c_sky130_fd_pr__pfet_g5v0d, li1, [(-24.455,-3.595,24.455,-3.425), (-24.455,-3.425,-24.285,3.425), (24.285,-3.425,24.455,3.425), (-23.7,-2.905,23.7,-2.735), (-23.7,2.735,23.7,2.905), (-24.455,3.425,24.455,3.595)])
A(c_sky130_fd_pr__pfet_g5v0d, mcon, -23.39, -2.905, 0.17, 0.17, 60, 2, 0.79, 5.64)
A(c_sky130_fd_pr__pfet_g5v0d, mcon, -23.785, -2.425, 0.17, 0.17, 61, 14, 0.79, 0.36)
A(c_sky130_fd_pr__pfet_g5v0d, met1, -23.535, -2.935, 0.46, 0.03, 60, 2, 0.79, 0.2)
A(c_sky130_fd_pr__pfet_g5v0d, met1, -23.815, -2.5, 0.23, 5, 61, 1, 0.79, 0)
A(c_sky130_fd_pr__pfet_g5v0d, met1, -23.535, 2.705, 0.46, 0.03, 60, 2, 0.79, 0.2)
R(c_sky130_fd_pr__pfet_g5v0d, met1, [(-23.7,-2.905,23.7,-2.735), (-23.7,2.735,23.7,2.905)])
R(c_sky130_fd_pr__pfet_g5v0d, hvi, [(-24.845,-3.985,24.845,3.985)])
R(c_sky130_fd_pr__pfet_g5v0d, nsdm, [(-24.64,-3.78,24.64,-3.24), (-24.64,-3.24,-24.1,3.24), (24.1,-3.24,24.64,3.24), (-24.64,3.24,24.64,3.78)])
R(c_sky130_fd_pr__pfet_g5v0d, psdm, [(-23.97,-2.625,23.97,2.625)])
A(c_sky130_fd_pr__pfet_g5v0d, npc, -23.49, -3.005, 0.37, 0.37, 60, 2, 0.79, 5.64)
R(c_sky130_fd_pr__pfet_g5v0d, boundary, [(-24.37,-3.51,24.37,3.51)])
c_sky130_fd_pr__pfet_g5v0d.add(gdstk.Label('G', (23.305,2.82), layer=67, texttype=5))
c_sky130_fd_pr__pfet_g5v0d.add(gdstk.Label('G', (22.515,2.82), layer=67, texttype=5))
c_sky130_fd_pr__pfet_g5v0d.add(gdstk.Label('G', (21.725,2.82), layer=67, texttype=5))
c_sky130_fd_pr__pfet_g5v0d.add(gdstk.Label('G', (20.935,2.82), layer=67, texttype=5))
c_sky130_fd_pr__pfet_g5v0d.add(gdstk.Label('G', (20.145,2.82), layer=67, texttype=5))
c_sky130_fd_pr__pfet_g5v0d.add(gdstk.Label('G', (19.355,2.82), layer=67, texttype=5))
c_sky130_fd_pr__pfet_g5v0d.add(gdstk.Label('G', (18.565,2.82), layer=67, texttype=5))
c_sky130_fd_pr__pfet_g5v0d.add(gdstk.Label('G', (17.775,2.82), layer=67, texttype=5))
c_sky130_fd_pr__pfet_g5v0d.add(gdstk.Label('G', (16.985,2.82), layer=67, texttype=5))
c_sky130_fd_pr__pfet_g5v0d.add(gdstk.Label('G', (16.195,2.82), layer=67, texttype=5))
c_sky130_fd_pr__pfet_g5v0d.add(gdstk.Label('G', (15.405,2.82), layer=67, texttype=5))
c_sky130_fd_pr__pfet_g5v0d.add(gdstk.Label('G', (14.615,2.82), layer=67, texttype=5))
c_sky130_fd_pr__pfet_g5v0d.add(gdstk.Label('G', (13.825,2.82), layer=67, texttype=5))
c_sky130_fd_pr__pfet_g5v0d.add(gdstk.Label('G', (13.035,2.82), layer=67, texttype=5))
c_sky130_fd_pr__pfet_g5v0d.add(gdstk.Label('G', (12.245,2.82), layer=67, texttype=5))
c_sky130_fd_pr__pfet_g5v0d.add(gdstk.Label('G', (11.455,2.82), layer=67, texttype=5))
c_sky130_fd_pr__pfet_g5v0d.add(gdstk.Label('G', (10.665,2.82), layer=67, texttype=5))
c_sky130_fd_pr__pfet_g5v0d.add(gdstk.Label('G', (9.875,2.82), layer=67, texttype=5))
c_sky130_fd_pr__pfet_g5v0d.add(gdstk.Label('G', (9.085,2.82), layer=67, texttype=5))
c_sky130_fd_pr__pfet_g5v0d.add(gdstk.Label('G', (8.295,2.82), layer=67, texttype=5))
c_sky130_fd_pr__pfet_g5v0d.add(gdstk.Label('G', (7.505,2.82), layer=67, texttype=5))
c_sky130_fd_pr__pfet_g5v0d.add(gdstk.Label('G', (6.715,2.82), layer=67, texttype=5))
c_sky130_fd_pr__pfet_g5v0d.add(gdstk.Label('G', (5.925,2.82), layer=67, texttype=5))
c_sky130_fd_pr__pfet_g5v0d.add(gdstk.Label('G', (5.135,2.82), layer=67, texttype=5))
c_sky130_fd_pr__pfet_g5v0d.add(gdstk.Label('G', (4.345,2.82), layer=67, texttype=5))
c_sky130_fd_pr__pfet_g5v0d.add(gdstk.Label('G', (3.555,2.82), layer=67, texttype=5))
c_sky130_fd_pr__pfet_g5v0d.add(gdstk.Label('G', (2.765,2.82), layer=67, texttype=5))
c_sky130_fd_pr__pfet_g5v0d.add(gdstk.Label('G', (1.975,2.82), layer=67, texttype=5))
c_sky130_fd_pr__pfet_g5v0d.add(gdstk.Label('G', (1.185,2.82), layer=67, texttype=5))
c_sky130_fd_pr__pfet_g5v0d.add(gdstk.Label('G', (0.395,2.82), layer=67, texttype=5))
c_sky130_fd_pr__pfet_g5v0d.add(gdstk.Label('D30', (0,0), layer=67, texttype=5))
c_sky130_fd_pr__pfet_g5v0d.add(gdstk.Label('S31', (0.79,0), layer=67, texttype=5))
c_sky130_fd_pr__pfet_g5v0d.add(gdstk.Label('D32', (1.58,0), layer=67, texttype=5))
c_sky130_fd_pr__pfet_g5v0d.add(gdstk.Label('S33', (2.37,0), layer=67, texttype=5))
c_sky130_fd_pr__pfet_g5v0d.add(gdstk.Label('D34', (3.16,0), layer=67, texttype=5))
c_sky130_fd_pr__pfet_g5v0d.add(gdstk.Label('S35', (3.95,0), layer=67, texttype=5))
c_sky130_fd_pr__pfet_g5v0d.add(gdstk.Label('D36', (4.74,0), layer=67, texttype=5))
c_sky130_fd_pr__pfet_g5v0d.add(gdstk.Label('S37', (5.53,0), layer=67, texttype=5))
c_sky130_fd_pr__pfet_g5v0d.add(gdstk.Label('D38', (6.32,0), layer=67, texttype=5))
c_sky130_fd_pr__pfet_g5v0d.add(gdstk.Label('S39', (7.11,0), layer=67, texttype=5))
c_sky130_fd_pr__pfet_g5v0d.add(gdstk.Label('D40', (7.9,0), layer=67, texttype=5))
c_sky130_fd_pr__pfet_g5v0d.add(gdstk.Label('S41', (8.69,0), layer=67, texttype=5))
c_sky130_fd_pr__pfet_g5v0d.add(gdstk.Label('D42', (9.48,0), layer=67, texttype=5))
c_sky130_fd_pr__pfet_g5v0d.add(gdstk.Label('S43', (10.27,0), layer=67, texttype=5))
c_sky130_fd_pr__pfet_g5v0d.add(gdstk.Label('D44', (11.06,0), layer=67, texttype=5))
c_sky130_fd_pr__pfet_g5v0d.add(gdstk.Label('S45', (11.85,0), layer=67, texttype=5))
c_sky130_fd_pr__pfet_g5v0d.add(gdstk.Label('D46', (12.64,0), layer=67, texttype=5))
c_sky130_fd_pr__pfet_g5v0d.add(gdstk.Label('S47', (13.43,0), layer=67, texttype=5))
c_sky130_fd_pr__pfet_g5v0d.add(gdstk.Label('D48', (14.22,0), layer=67, texttype=5))
c_sky130_fd_pr__pfet_g5v0d.add(gdstk.Label('S49', (15.01,0), layer=67, texttype=5))
c_sky130_fd_pr__pfet_g5v0d.add(gdstk.Label('D50', (15.8,0), layer=67, texttype=5))
c_sky130_fd_pr__pfet_g5v0d.add(gdstk.Label('S51', (16.59,0), layer=67, texttype=5))
c_sky130_fd_pr__pfet_g5v0d.add(gdstk.Label('D52', (17.38,0), layer=67, texttype=5))
c_sky130_fd_pr__pfet_g5v0d.add(gdstk.Label('S53', (18.17,0), layer=67, texttype=5))
c_sky130_fd_pr__pfet_g5v0d.add(gdstk.Label('D54', (18.96,0), layer=67, texttype=5))
c_sky130_fd_pr__pfet_g5v0d.add(gdstk.Label('S55', (19.75,0), layer=67, texttype=5))
c_sky130_fd_pr__pfet_g5v0d.add(gdstk.Label('D56', (20.54,0), layer=67, texttype=5))
c_sky130_fd_pr__pfet_g5v0d.add(gdstk.Label('S57', (21.33,0), layer=67, texttype=5))
c_sky130_fd_pr__pfet_g5v0d.add(gdstk.Label('D58', (22.12,0), layer=67, texttype=5))
c_sky130_fd_pr__pfet_g5v0d.add(gdstk.Label('S59', (22.91,0), layer=67, texttype=5))
c_sky130_fd_pr__pfet_g5v0d.add(gdstk.Label('G', (-23.305,2.82), layer=67, texttype=5))
c_sky130_fd_pr__pfet_g5v0d.add(gdstk.Label('S1', (-22.91,0), layer=67, texttype=5))
c_sky130_fd_pr__pfet_g5v0d.add(gdstk.Label('D2', (-22.12,0), layer=67, texttype=5))
c_sky130_fd_pr__pfet_g5v0d.add(gdstk.Label('S3', (-21.33,0), layer=67, texttype=5))
c_sky130_fd_pr__pfet_g5v0d.add(gdstk.Label('D4', (-20.54,0), layer=67, texttype=5))
c_sky130_fd_pr__pfet_g5v0d.add(gdstk.Label('S5', (-19.75,0), layer=67, texttype=5))
c_sky130_fd_pr__pfet_g5v0d.add(gdstk.Label('D6', (-18.96,0), layer=67, texttype=5))
c_sky130_fd_pr__pfet_g5v0d.add(gdstk.Label('S7', (-18.17,0), layer=67, texttype=5))
c_sky130_fd_pr__pfet_g5v0d.add(gdstk.Label('D8', (-17.38,0), layer=67, texttype=5))
c_sky130_fd_pr__pfet_g5v0d.add(gdstk.Label('S9', (-16.59,0), layer=67, texttype=5))
c_sky130_fd_pr__pfet_g5v0d.add(gdstk.Label('D10', (-15.8,0), layer=67, texttype=5))
c_sky130_fd_pr__pfet_g5v0d.add(gdstk.Label('S11', (-15.01,0), layer=67, texttype=5))
c_sky130_fd_pr__pfet_g5v0d.add(gdstk.Label('D12', (-14.22,0), layer=67, texttype=5))
c_sky130_fd_pr__pfet_g5v0d.add(gdstk.Label('S13', (-13.43,0), layer=67, texttype=5))
c_sky130_fd_pr__pfet_g5v0d.add(gdstk.Label('D14', (-12.64,0), layer=67, texttype=5))
c_sky130_fd_pr__pfet_g5v0d.add(gdstk.Label('S15', (-11.85,0), layer=67, texttype=5))
c_sky130_fd_pr__pfet_g5v0d.add(gdstk.Label('D16', (-11.06,0), layer=67, texttype=5))
c_sky130_fd_pr__pfet_g5v0d.add(gdstk.Label('S17', (-10.27,0), layer=67, texttype=5))
c_sky130_fd_pr__pfet_g5v0d.add(gdstk.Label('D18', (-9.48,0), layer=67, texttype=5))
c_sky130_fd_pr__pfet_g5v0d.add(gdstk.Label('S19', (-8.69,0), layer=67, texttype=5))
c_sky130_fd_pr__pfet_g5v0d.add(gdstk.Label('D20', (-7.9,0), layer=67, texttype=5))
c_sky130_fd_pr__pfet_g5v0d.add(gdstk.Label('S21', (-7.11,0), layer=67, texttype=5))
c_sky130_fd_pr__pfet_g5v0d.add(gdstk.Label('D22', (-6.32,0), layer=67, texttype=5))
c_sky130_fd_pr__pfet_g5v0d.add(gdstk.Label('S23', (-5.53,0), layer=67, texttype=5))
c_sky130_fd_pr__pfet_g5v0d.add(gdstk.Label('D24', (-4.74,0), layer=67, texttype=5))
c_sky130_fd_pr__pfet_g5v0d.add(gdstk.Label('S25', (-3.95,0), layer=67, texttype=5))
c_sky130_fd_pr__pfet_g5v0d.add(gdstk.Label('D26', (-3.16,0), layer=67, texttype=5))
c_sky130_fd_pr__pfet_g5v0d.add(gdstk.Label('S27', (-2.37,0), layer=67, texttype=5))
c_sky130_fd_pr__pfet_g5v0d.add(gdstk.Label('D28', (-1.58,0), layer=67, texttype=5))
c_sky130_fd_pr__pfet_g5v0d.add(gdstk.Label('S29', (-0.79,0), layer=67, texttype=5))
c_sky130_fd_pr__pfet_g5v0d.add(gdstk.Label('D0', (-23.7,0), layer=67, texttype=5))
c_sky130_fd_pr__pfet_g5v0d.add(gdstk.Label('G', (-0.395,2.82), layer=67, texttype=5))
c_sky130_fd_pr__pfet_g5v0d.add(gdstk.Label('G', (-1.185,2.82), layer=67, texttype=5))
c_sky130_fd_pr__pfet_g5v0d.add(gdstk.Label('G', (-1.975,2.82), layer=67, texttype=5))
c_sky130_fd_pr__pfet_g5v0d.add(gdstk.Label('G', (-2.765,2.82), layer=67, texttype=5))
c_sky130_fd_pr__pfet_g5v0d.add(gdstk.Label('G', (-3.555,2.82), layer=67, texttype=5))
c_sky130_fd_pr__pfet_g5v0d.add(gdstk.Label('G', (-4.345,2.82), layer=67, texttype=5))
c_sky130_fd_pr__pfet_g5v0d.add(gdstk.Label('G', (-5.135,2.82), layer=67, texttype=5))
c_sky130_fd_pr__pfet_g5v0d.add(gdstk.Label('G', (-5.925,2.82), layer=67, texttype=5))
c_sky130_fd_pr__pfet_g5v0d.add(gdstk.Label('G', (-6.715,2.82), layer=67, texttype=5))
c_sky130_fd_pr__pfet_g5v0d.add(gdstk.Label('G', (-7.505,2.82), layer=67, texttype=5))
c_sky130_fd_pr__pfet_g5v0d.add(gdstk.Label('G', (-8.295,2.82), layer=67, texttype=5))
c_sky130_fd_pr__pfet_g5v0d.add(gdstk.Label('G', (-9.085,2.82), layer=67, texttype=5))
c_sky130_fd_pr__pfet_g5v0d.add(gdstk.Label('G', (-9.875,2.82), layer=67, texttype=5))
c_sky130_fd_pr__pfet_g5v0d.add(gdstk.Label('G', (-10.665,2.82), layer=67, texttype=5))
c_sky130_fd_pr__pfet_g5v0d.add(gdstk.Label('G', (-11.455,2.82), layer=67, texttype=5))
c_sky130_fd_pr__pfet_g5v0d.add(gdstk.Label('G', (-12.245,2.82), layer=67, texttype=5))
c_sky130_fd_pr__pfet_g5v0d.add(gdstk.Label('G', (-13.035,2.82), layer=67, texttype=5))
c_sky130_fd_pr__pfet_g5v0d.add(gdstk.Label('G', (-13.825,2.82), layer=67, texttype=5))
c_sky130_fd_pr__pfet_g5v0d.add(gdstk.Label('G', (-14.615,2.82), layer=67, texttype=5))
c_sky130_fd_pr__pfet_g5v0d.add(gdstk.Label('G', (-15.405,2.82), layer=67, texttype=5))
c_sky130_fd_pr__pfet_g5v0d.add(gdstk.Label('G', (-16.195,2.82), layer=67, texttype=5))
c_sky130_fd_pr__pfet_g5v0d.add(gdstk.Label('G', (-16.985,2.82), layer=67, texttype=5))
c_sky130_fd_pr__pfet_g5v0d.add(gdstk.Label('G', (-17.775,2.82), layer=67, texttype=5))
c_sky130_fd_pr__pfet_g5v0d.add(gdstk.Label('G', (-18.565,2.82), layer=67, texttype=5))
c_sky130_fd_pr__pfet_g5v0d.add(gdstk.Label('G', (-19.355,2.82), layer=67, texttype=5))
c_sky130_fd_pr__pfet_g5v0d.add(gdstk.Label('G', (-20.145,2.82), layer=67, texttype=5))
c_sky130_fd_pr__pfet_g5v0d.add(gdstk.Label('G', (-20.935,2.82), layer=67, texttype=5))
c_sky130_fd_pr__pfet_g5v0d.add(gdstk.Label('G', (-21.725,2.82), layer=67, texttype=5))
c_sky130_fd_pr__pfet_g5v0d.add(gdstk.Label('G', (-22.515,2.82), layer=67, texttype=5))
c_sky130_fd_pr__pfet_g5v0d.add(gdstk.Label('B', (0,-3.51), layer=67, texttype=5))

ota_core = lib.new_cell('ota_core')
R(ota_core, li1, [(-8.815,6.89,-8.115,7.59), (-10.075,17.47,-9.375,18.17), (-37.545,28.29,-36.845,28.99), (-24.605,40.26,-23.905,40.96)])
R(ota_core, mcon, [(-8.55,7.155,-8.38,7.325), (-9.81,17.735,-9.64,17.905), (-37.28,28.555,-37.11,28.725), (-24.34,40.525,-24.17,40.695)])
A(ota_core, met1, -7.31, 1.7, 0.4, 0.4, 10, 1, 1.58, 0)
A(ota_core, met1, -8.1, 5.48, 0.4, 0.4, 11, 1, 1.58, 0)
A(ota_core, met1, -7.07, 13.28, 0.4, 0.4, 4, 1, 4.58, 0)
A(ota_core, met1, -9.36, 16.06, 0.4, 0.4, 5, 1, 4.58, 0)
A(ota_core, met1, -36.84, 24.055, 0.4, 0.4, 17, 1, 4.58, 0)
A(ota_core, met1, -34.55, 26.835, 0.4, 0.4, 16, 1, 4.58, 0)
A(ota_core, met1, -23.9, 35.025, 0.4, 0.4, 31, 1, 1.58, 0)
A(ota_core, met1, -23.11, 38.805, 0.4, 0.4, 30, 1, 1.58, 0)
R(ota_core, met1, [(-0.565,6.48,-0.225,6.65), (-8.765,6.94,-8.165,7.54), (0.995,17.145,1.295,23.325), (-10.025,17.52,-9.425,18.12), (-37.495,28.34,-36.895,28.94), (-0.565,39.85,-0.225,40.02), (-24.555,40.31,-23.955,40.91)])
A(ota_core, via, -7.185, 1.825, 0.15, 0.15, 10, 1, 1.58, 0)
A(ota_core, via, -7.975, 5.605, 0.15, 0.15, 11, 1, 1.58, 0)
A(ota_core, via, -6.945, 13.405, 0.15, 0.15, 4, 1, 4.58, 0)
A(ota_core, via, -9.235, 16.185, 0.15, 0.15, 5, 1, 4.58, 0)
A(ota_core, via, -36.715, 24.18, 0.15, 0.15, 17, 1, 4.58, 0)
A(ota_core, via, -34.425, 26.96, 0.15, 0.15, 16, 1, 4.58, 0)
A(ota_core, via, -23.775, 35.15, 0.15, 0.15, 31, 1, 1.58, 0)
A(ota_core, via, -22.985, 38.93, 0.15, 0.15, 30, 1, 1.58, 0)
R(ota_core, via, [(-8.54,7.165,-8.39,7.315), (-9.8,17.745,-9.65,17.895), (-37.27,28.565,-37.12,28.715), (-24.33,40.535,-24.18,40.685)])
A(ota_core, met2, -6.62, 6.18, 1, 6.8, 5, 1, 3.06, 0)
A(ota_core, met2, -8.91, 16.76, 1, 6.995, 5, 1, 4.205, 0)
A(ota_core, met2, -23.45, 27.535, 1, 7.19, 7, 1, 7.65, 0)
R(ota_core, met2, [(-43.785,1.4,7.41,2.4), (-43.785,2.4,-42.785,6.94), (-8.2,5.18,8.2,6.18), (-43.785,6.94,-8.165,7.54), (-43.785,7.54,-42.785,17.52), (-7.17,12.98,7.17,13.98), (-9.46,15.76,9.46,16.76), (-43.785,17.52,-9.425,18.12), (-36.94,23.755,36.94,24.755), (-37.495,26.535,34.65,27.535), (-37.495,27.535,-36.895,28.94), (-24,34.725,24,35.725), (-24.555,38.505,43.785,39.505), (-24.555,39.505,-23.955,40.91)])
ota_core.add(gdstk.Reference(sky130_fd_pr__nfet_g5v0d, (0,3.79)))
ota_core.add(gdstk.Reference(c_sky130_fd_pr__nfet_g5v0d, (0,14.87)))
ota_core.add(gdstk.Reference(sky130_fd_pr__pfet_g5v0d, (0,25.645)))
ota_core.add(gdstk.Reference(c_sky130_fd_pr__pfet_g5v0d, (0,37.115)))
ota_core.add(gdstk.Label('g', (1.145,20.235), layer=68, texttype=5))
ota_core.add(gdstk.Label('en', (-0.395,6.565), layer=68, texttype=5))
ota_core.add(gdstk.Label('enb', (-0.395,39.935), layer=68, texttype=5))
ota_core.add(gdstk.Label('vdda', (43.285,39.005), layer=69, texttype=5))
ota_core.add(gdstk.Label('gnd', (-43.285,1.9), layer=69, texttype=5))
ota_core.add(gdstk.Label('out', (0,16.26), layer=69, texttype=5))

lib.write_gds('ota_core.gds')
